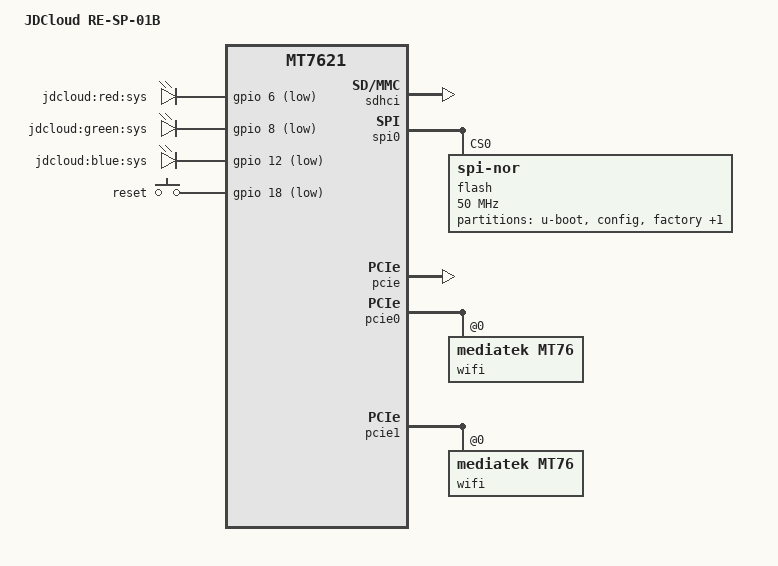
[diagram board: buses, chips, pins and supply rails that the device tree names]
// SPDX-License-Identifier: GPL-2.0-or-later OR MIT

#include "mt7621.dtsi"

#include <dt-bindings/gpio/gpio.h>
#include <dt-bindings/input/input.h>

/ {
	compatible = "jdcloud,re-sp-01b", "mediatek,mt7621-soc";
	model = "JDCloud RE-SP-01B";

	aliases {
		led-boot = &led_red;
		led-failsafe = &led_red;
		led-running = &led_green;
		led-upgrade = &led_blue;
		label-mac-device = &gmac0;
	};

	chosen {
		bootargs = "console=ttyS0,115200";
	};

	leds {
		compatible = "gpio-leds";

		led_red: red {
			label = "jdcloud:red:sys";
			gpios = <&gpio 6 GPIO_ACTIVE_LOW>;
			panic-indicator;
		};

		led_green: green {
			label = "jdcloud:green:sys";
			gpios = <&gpio 8 GPIO_ACTIVE_LOW>;
		};

		led_blue: blue {
			label = "jdcloud:blue:sys";
			gpios = <&gpio 12 GPIO_ACTIVE_LOW>;
		};
	};

	keys {
		compatible = "gpio-keys";

		reset {
			label = "reset";
			gpios = <&gpio 18 GPIO_ACTIVE_LOW>;
			debounce-interval = <60>;
			linux,code = <KEY_RESTART>;
		};
	};
};

&sdhci {
	status = "okay";
};

&spi0 {
	status = "okay";

	flash@0 {
		compatible = "jedec,spi-nor";
		reg = <0>;
		spi-max-frequency = <50000000>;
		broken-flash-reset;
                m25p,fast-read;

		partitions {
			compatible = "fixed-partitions";
			#address-cells = <1>;
			#size-cells = <1>;

			partition@0 {
				label = "u-boot";
				reg = <0x0 0x30000>;
				read-only;
			};

			config: partition@30000 {
				label = "config";
				reg = <0x30000 0x10000>;
				read-only;
			};

			factory: partition@40000 {
				label = "factory";
				reg = <0x40000 0x10000>;
				read-only;
			};

			partition@50000 {
				compatible = "denx,uimage";
				label = "firmware";
				reg = <0x50000 0x1fb0000>;
			};
		};
	};
};

&pcie {
	status = "okay";
};

&pcie0 {
	wifi@0,0 {
		compatible = "mediatek,mt76";
		reg = <0x0000 0 0 0 0>;
		mediatek,mtd-eeprom = <&factory 0x0000>;
		nvmem-cells = <&macaddr_config_4429>;
                nvmem-cell-names = "mac-address";
		ieee80211-freq-limit = <2400000 2500000>;
	};
};

&pcie1 {
	wifi@0,0 {
		compatible = "mediatek,mt76";
		reg = <0x0000 0 0 0 0>;
		mediatek,mtd-eeprom = <&factory 0x8000>;
		nvmem-cells = <&macaddr_config_4429>;
                nvmem-cell-names = "mac-address";
                mac-address-increment = <0x80>;
                mac-address-increment-byte = <0x03>;
		ieee80211-freq-limit = <5000000 6000000>;
	};
};

&gmac0 {
	nvmem-cells = <&macaddr_config_4429>;
	nvmem-cell-names = "mac-address";
};

&switch0 {
	ports {
		port@0 {
			status = "okay";
			label = "wan";
			nvmem-cells = <&macaddr_config_4429>;
			nvmem-cell-names = "mac-address";
			mac-address-increment = <1>;
		};

		port@1 {
			status = "okay";
			label = "lan1";
		};

		port@2 {
			status = "okay";
			label = "lan2";
		};
	};
};

&state_default {
	gpio {
		groups = "uart2", "uart3", "wdt";
		function = "gpio";
	};
};

&config {
	compatible = "nvmem-cells";
	#address-cells = <1>;
	#size-cells = <1>;

	macaddr_config_4429: macaddr@4429 {
		reg = <0x4429 0x6>;
	};
};
